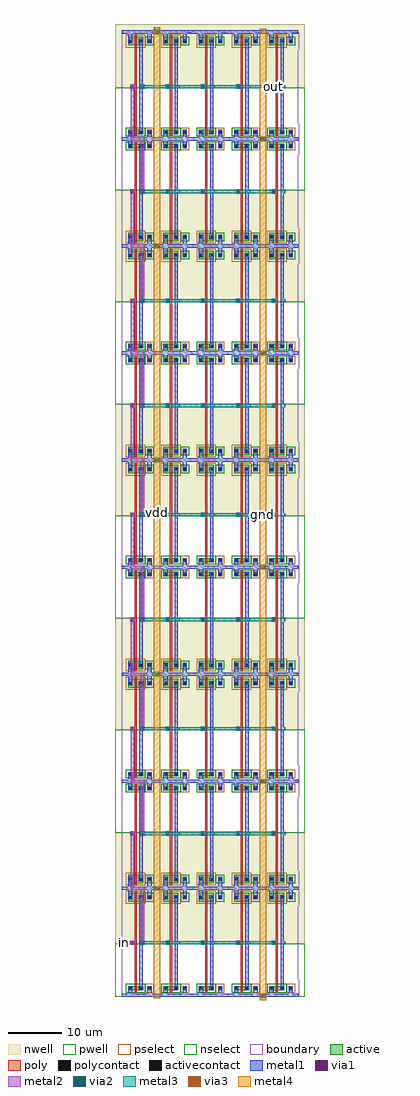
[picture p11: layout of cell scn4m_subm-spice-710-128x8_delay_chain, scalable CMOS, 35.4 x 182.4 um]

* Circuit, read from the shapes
.subckt scn4m_subm-spice-710-128x8_delay_chain gnd in out vdd
M1 scn4m_subm-spice-710-128x8_pinv_15_1/A in gnd gnd nfet w=0.8u l=0.4u
M2 scn4m_subm-spice-710-128x8_pinv_15_10/A scn4m_subm-spice-710-128x8_pinv_15_1/A gnd gnd nfet w=0.8u l=0.4u
M3 scn4m_subm-spice-710-128x8_pinv_15_11/A scn4m_subm-spice-710-128x8_pinv_15_10/A gnd gnd nfet w=0.8u l=0.4u
M4 scn4m_subm-spice-710-128x8_pinv_15_16/A scn4m_subm-spice-710-128x8_pinv_15_11/A gnd gnd nfet w=0.8u l=0.4u
M5 scn4m_subm-spice-710-128x8_pinv_15_21/A scn4m_subm-spice-710-128x8_pinv_15_16/A gnd gnd nfet w=0.8u l=0.4u
M6 scn4m_subm-spice-710-128x8_pinv_15_26/A scn4m_subm-spice-710-128x8_pinv_15_21/A gnd gnd nfet w=0.8u l=0.4u
M7 scn4m_subm-spice-710-128x8_pinv_15_31/A scn4m_subm-spice-710-128x8_pinv_15_26/A gnd gnd nfet w=0.8u l=0.4u
M8 scn4m_subm-spice-710-128x8_pinv_15_36/A scn4m_subm-spice-710-128x8_pinv_15_31/A gnd gnd nfet w=0.8u l=0.4u
M9 out scn4m_subm-spice-710-128x8_pinv_15_36/A gnd gnd nfet w=0.8u l=0.4u
M10 scn4m_subm-spice-710-128x8_pinv_15_1/Z scn4m_subm-spice-710-128x8_pinv_15_1/A gnd gnd nfet w=0.8u l=0.4u
M11 scn4m_subm-spice-710-128x8_pinv_15_6/Z scn4m_subm-spice-710-128x8_pinv_15_10/A gnd gnd nfet w=0.8u l=0.4u
M12 scn4m_subm-spice-710-128x8_pinv_15_11/Z scn4m_subm-spice-710-128x8_pinv_15_11/A gnd gnd nfet w=0.8u l=0.4u
M13 scn4m_subm-spice-710-128x8_pinv_15_16/Z scn4m_subm-spice-710-128x8_pinv_15_16/A gnd gnd nfet w=0.8u l=0.4u
M14 scn4m_subm-spice-710-128x8_pinv_15_21/Z scn4m_subm-spice-710-128x8_pinv_15_21/A gnd gnd nfet w=0.8u l=0.4u
M15 scn4m_subm-spice-710-128x8_pinv_15_26/Z scn4m_subm-spice-710-128x8_pinv_15_26/A gnd gnd nfet w=0.8u l=0.4u
M16 scn4m_subm-spice-710-128x8_pinv_15_31/Z scn4m_subm-spice-710-128x8_pinv_15_31/A gnd gnd nfet w=0.8u l=0.4u
M17 scn4m_subm-spice-710-128x8_pinv_15_36/Z scn4m_subm-spice-710-128x8_pinv_15_36/A gnd gnd nfet w=0.8u l=0.4u
M18 scn4m_subm-spice-710-128x8_pinv_15_41/Z out gnd gnd nfet w=0.8u l=0.4u
M19 scn4m_subm-spice-710-128x8_pinv_15_2/Z scn4m_subm-spice-710-128x8_pinv_15_1/A gnd gnd nfet w=0.8u l=0.4u
M20 scn4m_subm-spice-710-128x8_pinv_15_7/Z scn4m_subm-spice-710-128x8_pinv_15_10/A gnd gnd nfet w=0.8u l=0.4u
M21 scn4m_subm-spice-710-128x8_pinv_15_12/Z scn4m_subm-spice-710-128x8_pinv_15_11/A gnd gnd nfet w=0.8u l=0.4u
M22 scn4m_subm-spice-710-128x8_pinv_15_17/Z scn4m_subm-spice-710-128x8_pinv_15_16/A gnd gnd nfet w=0.8u l=0.4u
M23 scn4m_subm-spice-710-128x8_pinv_15_22/Z scn4m_subm-spice-710-128x8_pinv_15_21/A gnd gnd nfet w=0.8u l=0.4u
M24 scn4m_subm-spice-710-128x8_pinv_15_27/Z scn4m_subm-spice-710-128x8_pinv_15_26/A gnd gnd nfet w=0.8u l=0.4u
M25 scn4m_subm-spice-710-128x8_pinv_15_32/Z scn4m_subm-spice-710-128x8_pinv_15_31/A gnd gnd nfet w=0.8u l=0.4u
M26 scn4m_subm-spice-710-128x8_pinv_15_37/Z scn4m_subm-spice-710-128x8_pinv_15_36/A gnd gnd nfet w=0.8u l=0.4u
M27 scn4m_subm-spice-710-128x8_pinv_15_42/Z out gnd gnd nfet w=0.8u l=0.4u
M28 scn4m_subm-spice-710-128x8_pinv_15_3/Z scn4m_subm-spice-710-128x8_pinv_15_1/A gnd gnd nfet w=0.8u l=0.4u
M29 scn4m_subm-spice-710-128x8_pinv_15_8/Z scn4m_subm-spice-710-128x8_pinv_15_10/A gnd gnd nfet w=0.8u l=0.4u
M30 scn4m_subm-spice-710-128x8_pinv_15_13/Z scn4m_subm-spice-710-128x8_pinv_15_11/A gnd gnd nfet w=0.8u l=0.4u
M31 scn4m_subm-spice-710-128x8_pinv_15_18/Z scn4m_subm-spice-710-128x8_pinv_15_16/A gnd gnd nfet w=0.8u l=0.4u
M32 scn4m_subm-spice-710-128x8_pinv_15_23/Z scn4m_subm-spice-710-128x8_pinv_15_21/A gnd gnd nfet w=0.8u l=0.4u
M33 scn4m_subm-spice-710-128x8_pinv_15_28/Z scn4m_subm-spice-710-128x8_pinv_15_26/A gnd gnd nfet w=0.8u l=0.4u
M34 scn4m_subm-spice-710-128x8_pinv_15_33/Z scn4m_subm-spice-710-128x8_pinv_15_31/A gnd gnd nfet w=0.8u l=0.4u
M35 scn4m_subm-spice-710-128x8_pinv_15_38/Z scn4m_subm-spice-710-128x8_pinv_15_36/A gnd gnd nfet w=0.8u l=0.4u
M36 scn4m_subm-spice-710-128x8_pinv_15_43/Z out gnd gnd nfet w=0.8u l=0.4u
M37 scn4m_subm-spice-710-128x8_pinv_15_4/Z scn4m_subm-spice-710-128x8_pinv_15_1/A gnd gnd nfet w=0.8u l=0.4u
M38 scn4m_subm-spice-710-128x8_pinv_15_9/Z scn4m_subm-spice-710-128x8_pinv_15_10/A gnd gnd nfet w=0.8u l=0.4u
M39 scn4m_subm-spice-710-128x8_pinv_15_14/Z scn4m_subm-spice-710-128x8_pinv_15_11/A gnd gnd nfet w=0.8u l=0.4u
M40 scn4m_subm-spice-710-128x8_pinv_15_19/Z scn4m_subm-spice-710-128x8_pinv_15_16/A gnd gnd nfet w=0.8u l=0.4u
M41 scn4m_subm-spice-710-128x8_pinv_15_24/Z scn4m_subm-spice-710-128x8_pinv_15_21/A gnd gnd nfet w=0.8u l=0.4u
M42 scn4m_subm-spice-710-128x8_pinv_15_29/Z scn4m_subm-spice-710-128x8_pinv_15_26/A gnd gnd nfet w=0.8u l=0.4u
M43 scn4m_subm-spice-710-128x8_pinv_15_34/Z scn4m_subm-spice-710-128x8_pinv_15_31/A gnd gnd nfet w=0.8u l=0.4u
M44 scn4m_subm-spice-710-128x8_pinv_15_39/Z scn4m_subm-spice-710-128x8_pinv_15_36/A gnd gnd nfet w=0.8u l=0.4u
M45 scn4m_subm-spice-710-128x8_pinv_15_44/Z out gnd gnd nfet w=0.8u l=0.4u
M46 scn4m_subm-spice-710-128x8_pinv_15_1/A in vdd vdd pfet w=1.6u l=0.4u
M47 scn4m_subm-spice-710-128x8_pinv_15_10/A scn4m_subm-spice-710-128x8_pinv_15_1/A vdd vdd pfet w=1.6u l=0.4u
M48 scn4m_subm-spice-710-128x8_pinv_15_11/A scn4m_subm-spice-710-128x8_pinv_15_10/A vdd vdd pfet w=1.6u l=0.4u
M49 scn4m_subm-spice-710-128x8_pinv_15_16/A scn4m_subm-spice-710-128x8_pinv_15_11/A vdd vdd pfet w=1.6u l=0.4u
M50 scn4m_subm-spice-710-128x8_pinv_15_21/A scn4m_subm-spice-710-128x8_pinv_15_16/A vdd vdd pfet w=1.6u l=0.4u
M51 scn4m_subm-spice-710-128x8_pinv_15_26/A scn4m_subm-spice-710-128x8_pinv_15_21/A vdd vdd pfet w=1.6u l=0.4u
M52 scn4m_subm-spice-710-128x8_pinv_15_31/A scn4m_subm-spice-710-128x8_pinv_15_26/A vdd vdd pfet w=1.6u l=0.4u
M53 scn4m_subm-spice-710-128x8_pinv_15_36/A scn4m_subm-spice-710-128x8_pinv_15_31/A vdd vdd pfet w=1.6u l=0.4u
M54 out scn4m_subm-spice-710-128x8_pinv_15_36/A vdd vdd pfet w=1.6u l=0.4u
M55 scn4m_subm-spice-710-128x8_pinv_15_1/Z scn4m_subm-spice-710-128x8_pinv_15_1/A vdd vdd pfet w=1.6u l=0.4u
M56 scn4m_subm-spice-710-128x8_pinv_15_6/Z scn4m_subm-spice-710-128x8_pinv_15_10/A vdd vdd pfet w=1.6u l=0.4u
M57 scn4m_subm-spice-710-128x8_pinv_15_11/Z scn4m_subm-spice-710-128x8_pinv_15_11/A vdd vdd pfet w=1.6u l=0.4u
M58 scn4m_subm-spice-710-128x8_pinv_15_16/Z scn4m_subm-spice-710-128x8_pinv_15_16/A vdd vdd pfet w=1.6u l=0.4u
M59 scn4m_subm-spice-710-128x8_pinv_15_21/Z scn4m_subm-spice-710-128x8_pinv_15_21/A vdd vdd pfet w=1.6u l=0.4u
M60 scn4m_subm-spice-710-128x8_pinv_15_26/Z scn4m_subm-spice-710-128x8_pinv_15_26/A vdd vdd pfet w=1.6u l=0.4u
M61 scn4m_subm-spice-710-128x8_pinv_15_31/Z scn4m_subm-spice-710-128x8_pinv_15_31/A vdd vdd pfet w=1.6u l=0.4u
M62 scn4m_subm-spice-710-128x8_pinv_15_36/Z scn4m_subm-spice-710-128x8_pinv_15_36/A vdd vdd pfet w=1.6u l=0.4u
M63 scn4m_subm-spice-710-128x8_pinv_15_41/Z out vdd vdd pfet w=1.6u l=0.4u
M64 scn4m_subm-spice-710-128x8_pinv_15_2/Z scn4m_subm-spice-710-128x8_pinv_15_1/A vdd vdd pfet w=1.6u l=0.4u
M65 scn4m_subm-spice-710-128x8_pinv_15_7/Z scn4m_subm-spice-710-128x8_pinv_15_10/A vdd vdd pfet w=1.6u l=0.4u
M66 scn4m_subm-spice-710-128x8_pinv_15_12/Z scn4m_subm-spice-710-128x8_pinv_15_11/A vdd vdd pfet w=1.6u l=0.4u
M67 scn4m_subm-spice-710-128x8_pinv_15_17/Z scn4m_subm-spice-710-128x8_pinv_15_16/A vdd vdd pfet w=1.6u l=0.4u
M68 scn4m_subm-spice-710-128x8_pinv_15_22/Z scn4m_subm-spice-710-128x8_pinv_15_21/A vdd vdd pfet w=1.6u l=0.4u
M69 scn4m_subm-spice-710-128x8_pinv_15_27/Z scn4m_subm-spice-710-128x8_pinv_15_26/A vdd vdd pfet w=1.6u l=0.4u
M70 scn4m_subm-spice-710-128x8_pinv_15_32/Z scn4m_subm-spice-710-128x8_pinv_15_31/A vdd vdd pfet w=1.6u l=0.4u
M71 scn4m_subm-spice-710-128x8_pinv_15_37/Z scn4m_subm-spice-710-128x8_pinv_15_36/A vdd vdd pfet w=1.6u l=0.4u
M72 scn4m_subm-spice-710-128x8_pinv_15_42/Z out vdd vdd pfet w=1.6u l=0.4u
M73 scn4m_subm-spice-710-128x8_pinv_15_3/Z scn4m_subm-spice-710-128x8_pinv_15_1/A vdd vdd pfet w=1.6u l=0.4u
M74 scn4m_subm-spice-710-128x8_pinv_15_8/Z scn4m_subm-spice-710-128x8_pinv_15_10/A vdd vdd pfet w=1.6u l=0.4u
M75 scn4m_subm-spice-710-128x8_pinv_15_13/Z scn4m_subm-spice-710-128x8_pinv_15_11/A vdd vdd pfet w=1.6u l=0.4u
M76 scn4m_subm-spice-710-128x8_pinv_15_18/Z scn4m_subm-spice-710-128x8_pinv_15_16/A vdd vdd pfet w=1.6u l=0.4u
M77 scn4m_subm-spice-710-128x8_pinv_15_23/Z scn4m_subm-spice-710-128x8_pinv_15_21/A vdd vdd pfet w=1.6u l=0.4u
M78 scn4m_subm-spice-710-128x8_pinv_15_28/Z scn4m_subm-spice-710-128x8_pinv_15_26/A vdd vdd pfet w=1.6u l=0.4u
M79 scn4m_subm-spice-710-128x8_pinv_15_33/Z scn4m_subm-spice-710-128x8_pinv_15_31/A vdd vdd pfet w=1.6u l=0.4u
M80 scn4m_subm-spice-710-128x8_pinv_15_38/Z scn4m_subm-spice-710-128x8_pinv_15_36/A vdd vdd pfet w=1.6u l=0.4u
M81 scn4m_subm-spice-710-128x8_pinv_15_43/Z out vdd vdd pfet w=1.6u l=0.4u
M82 scn4m_subm-spice-710-128x8_pinv_15_4/Z scn4m_subm-spice-710-128x8_pinv_15_1/A vdd vdd pfet w=1.6u l=0.4u
M83 scn4m_subm-spice-710-128x8_pinv_15_9/Z scn4m_subm-spice-710-128x8_pinv_15_10/A vdd vdd pfet w=1.6u l=0.4u
M84 scn4m_subm-spice-710-128x8_pinv_15_14/Z scn4m_subm-spice-710-128x8_pinv_15_11/A vdd vdd pfet w=1.6u l=0.4u
M85 scn4m_subm-spice-710-128x8_pinv_15_19/Z scn4m_subm-spice-710-128x8_pinv_15_16/A vdd vdd pfet w=1.6u l=0.4u
M86 scn4m_subm-spice-710-128x8_pinv_15_24/Z scn4m_subm-spice-710-128x8_pinv_15_21/A vdd vdd pfet w=1.6u l=0.4u
M87 scn4m_subm-spice-710-128x8_pinv_15_29/Z scn4m_subm-spice-710-128x8_pinv_15_26/A vdd vdd pfet w=1.6u l=0.4u
M88 scn4m_subm-spice-710-128x8_pinv_15_34/Z scn4m_subm-spice-710-128x8_pinv_15_31/A vdd vdd pfet w=1.6u l=0.4u
M89 scn4m_subm-spice-710-128x8_pinv_15_39/Z scn4m_subm-spice-710-128x8_pinv_15_36/A vdd vdd pfet w=1.6u l=0.4u
M90 scn4m_subm-spice-710-128x8_pinv_15_44/Z out vdd vdd pfet w=1.6u l=0.4u
.ends

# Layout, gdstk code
import gdstk
lib = gdstk.Library(unit=1e-6, precision=1e-09)
def R(c, l, rs):  # rectangles x0, y0, x1, y1
    for r in rs: c.add(gdstk.rectangle(r[:2], r[2:], *l))
def A(c, l, x, y, w, h, nx, ny, dx, dy):  # array of equal rectangles
    R(c, l, [(x+i*dx, y+j*dy, x+i*dx+w, y+j*dy+h) for i in range(nx) for j in range(ny)])
via3 = (30, 0)
metal4 = (31, 0)
pwell = (41, 0)
nwell = (42, 0)
active = (43, 0)
pselect = (44, 0)
nselect = (45, 0)
poly = (46, 0)
polycontact = (47, 0)
activecontact = (48, 0)
metal1 = (49, 0)
via1 = (50, 0)
metal2 = (51, 0)
via2 = (61, 0)
metal3 = (62, 0)
boundary = (63, 0)

scn4m_subm_spice_710_128 = lib.new_cell('scn4m_subm-spice-710-128x8_contact_12')
R(scn4m_subm_spice_710_128, nwell, [(-1.2,-1.2,2,2)])
R(scn4m_subm_spice_710_128, active, [(0,0,0.8,0.8)])
R(scn4m_subm_spice_710_128, pselect, [(-0.4,-0.4,1.2,1.2)])
R(scn4m_subm_spice_710_128, activecontact, [(0.2,0.2,0.6,0.6)])
R(scn4m_subm_spice_710_128, metal1, [(0,0,0.8,0.8)])
R(scn4m_subm_spice_710_128, boundary, [(-1.2,-1.2,2,2)])

c_scn4m_subm_spice_710_128 = lib.new_cell('scn4m_subm-spice-710-128x8_pmos_m1_w1_600_sm1_dm1_da_p')
R(c_scn4m_subm_spice_710_128, nwell, [(-1.2,-1.2,4,2.8)])
R(c_scn4m_subm_spice_710_128, active, [(0,0,2.8,1.6)])
R(c_scn4m_subm_spice_710_128, pselect, [(-0.4,-0.4,3.2,2)])
R(c_scn4m_subm_spice_710_128, poly, [(1.2,-0.4,1.6,2), (1.2,-0.4,1.6,2)])
R(c_scn4m_subm_spice_710_128, metal1, [(0,0.4,0.8,1.2), (2,0.4,2.8,1.2)])
R(c_scn4m_subm_spice_710_128, boundary, [(-1.2,-1.2,4,2.8)])
c_scn4m_subm_spice_710_128.add(gdstk.Reference(scn4m_subm_spice_710_128, (0,0.4)))
c_scn4m_subm_spice_710_128.add(gdstk.Reference(scn4m_subm_spice_710_128, (2,0.4)))
c_scn4m_subm_spice_710_128.add(gdstk.Label('G', (1.4,0.8), layer=46, texttype=0))
c_scn4m_subm_spice_710_128.add(gdstk.Label('S', (0.4,0.8), layer=49, texttype=0))
c_scn4m_subm_spice_710_128.add(gdstk.Label('D', (2.4,0.8), layer=49, texttype=0))

c_scn4m_subm_spice_710_128_ = lib.new_cell('scn4m_subm-spice-710-128x8_contact_11')
R(c_scn4m_subm_spice_710_128_, pwell, [(-1.2,-1.2,2,2)])
R(c_scn4m_subm_spice_710_128_, active, [(0,0,0.8,0.8)])
R(c_scn4m_subm_spice_710_128_, nselect, [(-0.4,-0.4,1.2,1.2)])
R(c_scn4m_subm_spice_710_128_, activecontact, [(0.2,0.2,0.6,0.6)])
R(c_scn4m_subm_spice_710_128_, metal1, [(0,0,0.8,0.8)])
R(c_scn4m_subm_spice_710_128_, boundary, [(-1.2,-1.2,2,2)])

c_scn4m_subm_spice_710_128__ = lib.new_cell('scn4m_subm-spice-710-128x8_nmos_m1_w0_800_sm1_dm1_da_p')
R(c_scn4m_subm_spice_710_128__, pwell, [(-1.2,-1.2,4,2)])
R(c_scn4m_subm_spice_710_128__, active, [(0,0,2.8,0.8)])
R(c_scn4m_subm_spice_710_128__, nselect, [(-0.4,-0.4,3.2,1.2)])
R(c_scn4m_subm_spice_710_128__, poly, [(1.2,-0.4,1.6,1.2), (1.2,-0.4,1.6,1.2)])
R(c_scn4m_subm_spice_710_128__, metal1, [(0,0,0.8,0.8), (2,0,2.8,0.8)])
R(c_scn4m_subm_spice_710_128__, boundary, [(-1.2,-1.2,4,2)])
c_scn4m_subm_spice_710_128__.add(gdstk.Reference(c_scn4m_subm_spice_710_128_, (0,0)))
c_scn4m_subm_spice_710_128__.add(gdstk.Reference(c_scn4m_subm_spice_710_128_, (2,0)))
c_scn4m_subm_spice_710_128__.add(gdstk.Label('G', (1.4,0.4), layer=46, texttype=0))
c_scn4m_subm_spice_710_128__.add(gdstk.Label('S', (0.4,0.4), layer=49, texttype=0))
c_scn4m_subm_spice_710_128__.add(gdstk.Label('D', (2.4,0.4), layer=49, texttype=0))

c_scn4m_subm_spice_710_128___ = lib.new_cell('scn4m_subm-spice-710-128x8_contact_13')
R(c_scn4m_subm_spice_710_128___, nwell, [(-1.2,-1.2,2,2)])
R(c_scn4m_subm_spice_710_128___, active, [(0,0,0.8,0.8)])
R(c_scn4m_subm_spice_710_128___, nselect, [(-0.4,-0.4,1.2,1.2)])
R(c_scn4m_subm_spice_710_128___, activecontact, [(0.2,0.2,0.6,0.6)])
R(c_scn4m_subm_spice_710_128___, metal1, [(0,0,0.8,0.8)])
R(c_scn4m_subm_spice_710_128___, boundary, [(-1.2,-1.2,2,2)])

c_scn4m_subm_spice_710_128____ = lib.new_cell('scn4m_subm-spice-710-128x8_contact_14')
R(c_scn4m_subm_spice_710_128____, pwell, [(-1.2,-1.2,2,2)])
R(c_scn4m_subm_spice_710_128____, active, [(0,0,0.8,0.8)])
R(c_scn4m_subm_spice_710_128____, pselect, [(-0.4,-0.4,1.2,1.2)])
R(c_scn4m_subm_spice_710_128____, activecontact, [(0.2,0.2,0.6,0.6)])
R(c_scn4m_subm_spice_710_128____, metal1, [(0,0,0.8,0.8)])
R(c_scn4m_subm_spice_710_128____, boundary, [(-1.2,-1.2,2,2)])

c_scn4m_subm_spice_710_128_____ = lib.new_cell('scn4m_subm-spice-710-128x8_contact_15')
R(c_scn4m_subm_spice_710_128_____, poly, [(0,0,0.8,0.8)])
R(c_scn4m_subm_spice_710_128_____, polycontact, [(0.2,0.2,0.6,0.6)])
R(c_scn4m_subm_spice_710_128_____, metal1, [(0,0,0.8,0.8)])
R(c_scn4m_subm_spice_710_128_____, boundary, [(0,0,0.8,0.8)])

c_scn4m_subm_spice_710_128______ = lib.new_cell('scn4m_subm-spice-710-128x8_pinv_15')
R(c_scn4m_subm_spice_710_128______, pwell, [(-1.2,-0.3,7.8,9.6)])
R(c_scn4m_subm_spice_710_128______, nwell, [(-1.2,9.6,7.8,21.5)])
R(c_scn4m_subm_spice_710_128______, poly, [(2.4,2.1,2.8,17.1), (2,9.4,2.4,10.2)])
R(c_scn4m_subm_spice_710_128______, metal1, [(0,-0.3,6.6,0.3), (1.2,-0.3,2,0.9), (4.8,0,5.6,1.3), (3.3,0.9,3.9,18.7), (1.6,9.4,2.4,10.2), (3.6,9.5,4.2,10.1), (1.2,17.9,2,20.3), (4.8,18.3,5.6,20), (0,19.7,6.6,20.3)])
R(c_scn4m_subm_spice_710_128______, boundary, [(0,0,6.6,20), (0,0,6.6,20)])
c_scn4m_subm_spice_710_128______.add(gdstk.Reference(c_scn4m_subm_spice_710_128, (1.2,17.5)))
c_scn4m_subm_spice_710_128______.add(gdstk.Reference(c_scn4m_subm_spice_710_128__, (1.2,0.9)))
c_scn4m_subm_spice_710_128______.add(gdstk.Reference(c_scn4m_subm_spice_710_128___, (4.8,17.9)))
c_scn4m_subm_spice_710_128______.add(gdstk.Reference(c_scn4m_subm_spice_710_128____, (4.8,0.9)))
c_scn4m_subm_spice_710_128______.add(gdstk.Reference(c_scn4m_subm_spice_710_128_____, (1.6,9.4)))
c_scn4m_subm_spice_710_128______.add(gdstk.Label('A', (2,9.8), layer=49, texttype=0))
c_scn4m_subm_spice_710_128______.add(gdstk.Label('Z', (3.9,9.8), layer=49, texttype=0))
c_scn4m_subm_spice_710_128______.add(gdstk.Label('gnd', (3.3,0), layer=49, texttype=0))
c_scn4m_subm_spice_710_128______.add(gdstk.Label('vdd', (3.3,20), layer=49, texttype=0))

c_scn4m_subm_spice_710_128_______ = lib.new_cell('scn4m_subm-spice-710-128x8_contact_18')
R(c_scn4m_subm_spice_710_128_______, metal1, [(0,0,0.8,0.8)])
R(c_scn4m_subm_spice_710_128_______, via1, [(0.2,0.2,0.6,0.6)])
R(c_scn4m_subm_spice_710_128_______, metal2, [(0,0,0.8,0.8)])
R(c_scn4m_subm_spice_710_128_______, boundary, [(0,0,0.8,0.8)])

c_scn4m_subm_spice_710_128________ = lib.new_cell('scn4m_subm-spice-710-128x8_contact_19')
R(c_scn4m_subm_spice_710_128________, metal2, [(0,0,0.8,0.8)])
R(c_scn4m_subm_spice_710_128________, via2, [(0.2,0.2,0.6,0.6)])
R(c_scn4m_subm_spice_710_128________, metal3, [(0,0,0.8,0.8)])
R(c_scn4m_subm_spice_710_128________, boundary, [(0,0,0.8,0.8)])

c_scn4m_subm_spice_710_128_________ = lib.new_cell('scn4m_subm-spice-710-128x8_contact_22')
R(c_scn4m_subm_spice_710_128_________, via3, [(0.4,0.4,0.8,0.8)])
R(c_scn4m_subm_spice_710_128_________, metal4, [(0,0,1.2,1.2)])
R(c_scn4m_subm_spice_710_128_________, metal3, [(0.2,0.2,1,1)])
R(c_scn4m_subm_spice_710_128_________, boundary, [(0,0,1.2,1.2)])

c_scn4m_subm_spice_710_128__________ = lib.new_cell('scn4m_subm-spice-710-128x8_delay_chain')
R(c_scn4m_subm_spice_710_128__________, metal4, [(25.8,-0.9,27,180.6), (6,-0.6,7.2,180.9)])
R(c_scn4m_subm_spice_710_128__________, metal1, [(0.6,9.5,2,10.1), (28.1,169.5,28.7,170.1), (28.1,169.5,28.7,170.1)])
A(c_scn4m_subm_spice_710_128__________, metal2, 3.6, 9.8, 0.6, 10.2, 1, 4, 0, 40)
A(c_scn4m_subm_spice_710_128__________, metal2, 1.7, 19.7, 0.6, 0.6, 1, 8, 0, 20)
A(c_scn4m_subm_spice_710_128__________, metal2, 2, 19.7, 1.9, 0.6, 1, 8, 0, 20)
A(c_scn4m_subm_spice_710_128__________, metal2, 3.6, 19.7, 0.6, 0.6, 1, 8, 0, 20)
A(c_scn4m_subm_spice_710_128__________, metal2, 1.7, 20, 0.6, 10.2, 1, 4, 0, 40)
A(c_scn4m_subm_spice_710_128__________, metal2, 3.6, 30.2, 0.6, 9.8, 1, 4, 0, 40)
A(c_scn4m_subm_spice_710_128__________, metal2, 1.7, 40, 0.6, 9.8, 1, 4, 0, 40)
R(c_scn4m_subm_spice_710_128__________, metal2, [(0.3,9.5,0.9,10.1)])
R(c_scn4m_subm_spice_710_128__________, metal3, [(3.9,9.5,28.4,10.1), (3.9,29.9,28.4,30.5), (3.9,49.5,28.4,50.1), (3.9,69.9,28.4,70.5), (3.9,89.5,28.4,90.1), (3.9,109.9,28.4,110.5), (3.9,129.5,28.4,130.1), (3.9,149.9,28.4,150.5), (3.9,169.5,28.4,170.1)])
R(c_scn4m_subm_spice_710_128__________, boundary, [(0,0,33,180)])
c_scn4m_subm_spice_710_128__________.add(gdstk.Reference(c_scn4m_subm_spice_710_128______, (0,0)))
c_scn4m_subm_spice_710_128__________.add(gdstk.Reference(c_scn4m_subm_spice_710_128______, (6.6,0)))
c_scn4m_subm_spice_710_128__________.add(gdstk.Reference(c_scn4m_subm_spice_710_128______, (13.2,0)))
c_scn4m_subm_spice_710_128__________.add(gdstk.Reference(c_scn4m_subm_spice_710_128______, (19.8,0)))
c_scn4m_subm_spice_710_128__________.add(gdstk.Reference(c_scn4m_subm_spice_710_128______, (26.4,0)))
c_scn4m_subm_spice_710_128__________.add(gdstk.Reference(c_scn4m_subm_spice_710_128______, (0,40), x_reflection=True))
c_scn4m_subm_spice_710_128__________.add(gdstk.Reference(c_scn4m_subm_spice_710_128______, (6.6,40), x_reflection=True))
c_scn4m_subm_spice_710_128__________.add(gdstk.Reference(c_scn4m_subm_spice_710_128______, (13.2,40), x_reflection=True))
c_scn4m_subm_spice_710_128__________.add(gdstk.Reference(c_scn4m_subm_spice_710_128______, (19.8,40), x_reflection=True))
c_scn4m_subm_spice_710_128__________.add(gdstk.Reference(c_scn4m_subm_spice_710_128______, (26.4,40), x_reflection=True))
c_scn4m_subm_spice_710_128__________.add(gdstk.Reference(c_scn4m_subm_spice_710_128______, (0,40)))
c_scn4m_subm_spice_710_128__________.add(gdstk.Reference(c_scn4m_subm_spice_710_128______, (6.6,40)))
c_scn4m_subm_spice_710_128__________.add(gdstk.Reference(c_scn4m_subm_spice_710_128______, (13.2,40)))
c_scn4m_subm_spice_710_128__________.add(gdstk.Reference(c_scn4m_subm_spice_710_128______, (19.8,40)))
c_scn4m_subm_spice_710_128__________.add(gdstk.Reference(c_scn4m_subm_spice_710_128______, (26.4,40)))
c_scn4m_subm_spice_710_128__________.add(gdstk.Reference(c_scn4m_subm_spice_710_128______, (0,80), x_reflection=True))
c_scn4m_subm_spice_710_128__________.add(gdstk.Reference(c_scn4m_subm_spice_710_128______, (6.6,80), x_reflection=True))
c_scn4m_subm_spice_710_128__________.add(gdstk.Reference(c_scn4m_subm_spice_710_128______, (13.2,80), x_reflection=True))
c_scn4m_subm_spice_710_128__________.add(gdstk.Reference(c_scn4m_subm_spice_710_128______, (19.8,80), x_reflection=True))
c_scn4m_subm_spice_710_128__________.add(gdstk.Reference(c_scn4m_subm_spice_710_128______, (26.4,80), x_reflection=True))
c_scn4m_subm_spice_710_128__________.add(gdstk.Reference(c_scn4m_subm_spice_710_128______, (0,80)))
c_scn4m_subm_spice_710_128__________.add(gdstk.Reference(c_scn4m_subm_spice_710_128______, (6.6,80)))
c_scn4m_subm_spice_710_128__________.add(gdstk.Reference(c_scn4m_subm_spice_710_128______, (13.2,80)))
c_scn4m_subm_spice_710_128__________.add(gdstk.Reference(c_scn4m_subm_spice_710_128______, (19.8,80)))
c_scn4m_subm_spice_710_128__________.add(gdstk.Reference(c_scn4m_subm_spice_710_128______, (26.4,80)))
c_scn4m_subm_spice_710_128__________.add(gdstk.Reference(c_scn4m_subm_spice_710_128______, (0,120), x_reflection=True))
c_scn4m_subm_spice_710_128__________.add(gdstk.Reference(c_scn4m_subm_spice_710_128______, (6.6,120), x_reflection=True))
c_scn4m_subm_spice_710_128__________.add(gdstk.Reference(c_scn4m_subm_spice_710_128______, (13.2,120), x_reflection=True))
c_scn4m_subm_spice_710_128__________.add(gdstk.Reference(c_scn4m_subm_spice_710_128______, (19.8,120), x_reflection=True))
c_scn4m_subm_spice_710_128__________.add(gdstk.Reference(c_scn4m_subm_spice_710_128______, (26.4,120), x_reflection=True))
c_scn4m_subm_spice_710_128__________.add(gdstk.Reference(c_scn4m_subm_spice_710_128______, (0,120)))
c_scn4m_subm_spice_710_128__________.add(gdstk.Reference(c_scn4m_subm_spice_710_128______, (6.6,120)))
c_scn4m_subm_spice_710_128__________.add(gdstk.Reference(c_scn4m_subm_spice_710_128______, (13.2,120)))
c_scn4m_subm_spice_710_128__________.add(gdstk.Reference(c_scn4m_subm_spice_710_128______, (19.8,120)))
c_scn4m_subm_spice_710_128__________.add(gdstk.Reference(c_scn4m_subm_spice_710_128______, (26.4,120)))
c_scn4m_subm_spice_710_128__________.add(gdstk.Reference(c_scn4m_subm_spice_710_128______, (0,160), x_reflection=True))
c_scn4m_subm_spice_710_128__________.add(gdstk.Reference(c_scn4m_subm_spice_710_128______, (6.6,160), x_reflection=True))
c_scn4m_subm_spice_710_128__________.add(gdstk.Reference(c_scn4m_subm_spice_710_128______, (13.2,160), x_reflection=True))
c_scn4m_subm_spice_710_128__________.add(gdstk.Reference(c_scn4m_subm_spice_710_128______, (19.8,160), x_reflection=True))
c_scn4m_subm_spice_710_128__________.add(gdstk.Reference(c_scn4m_subm_spice_710_128______, (26.4,160), x_reflection=True))
c_scn4m_subm_spice_710_128__________.add(gdstk.Reference(c_scn4m_subm_spice_710_128______, (0,160)))
c_scn4m_subm_spice_710_128__________.add(gdstk.Reference(c_scn4m_subm_spice_710_128______, (6.6,160)))
c_scn4m_subm_spice_710_128__________.add(gdstk.Reference(c_scn4m_subm_spice_710_128______, (13.2,160)))
c_scn4m_subm_spice_710_128__________.add(gdstk.Reference(c_scn4m_subm_spice_710_128______, (19.8,160)))
c_scn4m_subm_spice_710_128__________.add(gdstk.Reference(c_scn4m_subm_spice_710_128______, (26.4,160)))
c_scn4m_subm_spice_710_128__________.add(gdstk.Reference(c_scn4m_subm_spice_710_128_______, (8.2,9.4)))
c_scn4m_subm_spice_710_128__________.add(gdstk.Reference(c_scn4m_subm_spice_710_128________, (8.2,9.4)))
c_scn4m_subm_spice_710_128__________.add(gdstk.Reference(c_scn4m_subm_spice_710_128_______, (14.8,9.4)))
c_scn4m_subm_spice_710_128__________.add(gdstk.Reference(c_scn4m_subm_spice_710_128________, (14.8,9.4)))
c_scn4m_subm_spice_710_128__________.add(gdstk.Reference(c_scn4m_subm_spice_710_128_______, (21.4,9.4)))
c_scn4m_subm_spice_710_128__________.add(gdstk.Reference(c_scn4m_subm_spice_710_128________, (21.4,9.4)))
c_scn4m_subm_spice_710_128__________.add(gdstk.Reference(c_scn4m_subm_spice_710_128_______, (28,9.4)))
c_scn4m_subm_spice_710_128__________.add(gdstk.Reference(c_scn4m_subm_spice_710_128________, (28,9.4)))
c_scn4m_subm_spice_710_128__________.add(gdstk.Reference(c_scn4m_subm_spice_710_128_______, (1.6,9.4)))
c_scn4m_subm_spice_710_128__________.add(gdstk.Reference(c_scn4m_subm_spice_710_128_______, (3.5,9.4)))
c_scn4m_subm_spice_710_128__________.add(gdstk.Reference(c_scn4m_subm_spice_710_128________, (3.5,9.4)))
c_scn4m_subm_spice_710_128__________.add(gdstk.Reference(c_scn4m_subm_spice_710_128_______, (8.2,29.8)))
c_scn4m_subm_spice_710_128__________.add(gdstk.Reference(c_scn4m_subm_spice_710_128________, (8.2,29.8)))
c_scn4m_subm_spice_710_128__________.add(gdstk.Reference(c_scn4m_subm_spice_710_128_______, (14.8,29.8)))
c_scn4m_subm_spice_710_128__________.add(gdstk.Reference(c_scn4m_subm_spice_710_128________, (14.8,29.8)))
c_scn4m_subm_spice_710_128__________.add(gdstk.Reference(c_scn4m_subm_spice_710_128_______, (21.4,29.8)))
c_scn4m_subm_spice_710_128__________.add(gdstk.Reference(c_scn4m_subm_spice_710_128________, (21.4,29.8)))
c_scn4m_subm_spice_710_128__________.add(gdstk.Reference(c_scn4m_subm_spice_710_128_______, (28,29.8)))
c_scn4m_subm_spice_710_128__________.add(gdstk.Reference(c_scn4m_subm_spice_710_128________, (28,29.8)))
c_scn4m_subm_spice_710_128__________.add(gdstk.Reference(c_scn4m_subm_spice_710_128_______, (1.6,29.8)))
c_scn4m_subm_spice_710_128__________.add(gdstk.Reference(c_scn4m_subm_spice_710_128_______, (3.5,29.8)))
c_scn4m_subm_spice_710_128__________.add(gdstk.Reference(c_scn4m_subm_spice_710_128________, (3.5,29.8)))
c_scn4m_subm_spice_710_128__________.add(gdstk.Reference(c_scn4m_subm_spice_710_128_______, (8.2,49.4)))
c_scn4m_subm_spice_710_128__________.add(gdstk.Reference(c_scn4m_subm_spice_710_128________, (8.2,49.4)))
c_scn4m_subm_spice_710_128__________.add(gdstk.Reference(c_scn4m_subm_spice_710_128_______, (14.8,49.4)))
c_scn4m_subm_spice_710_128__________.add(gdstk.Reference(c_scn4m_subm_spice_710_128________, (14.8,49.4)))
c_scn4m_subm_spice_710_128__________.add(gdstk.Reference(c_scn4m_subm_spice_710_128_______, (21.4,49.4)))
c_scn4m_subm_spice_710_128__________.add(gdstk.Reference(c_scn4m_subm_spice_710_128________, (21.4,49.4)))
c_scn4m_subm_spice_710_128__________.add(gdstk.Reference(c_scn4m_subm_spice_710_128_______, (28,49.4)))
c_scn4m_subm_spice_710_128__________.add(gdstk.Reference(c_scn4m_subm_spice_710_128________, (28,49.4)))
c_scn4m_subm_spice_710_128__________.add(gdstk.Reference(c_scn4m_subm_spice_710_128_______, (1.6,49.4)))
c_scn4m_subm_spice_710_128__________.add(gdstk.Reference(c_scn4m_subm_spice_710_128_______, (3.5,49.4)))
c_scn4m_subm_spice_710_128__________.add(gdstk.Reference(c_scn4m_subm_spice_710_128________, (3.5,49.4)))
c_scn4m_subm_spice_710_128__________.add(gdstk.Reference(c_scn4m_subm_spice_710_128_______, (8.2,69.8)))
c_scn4m_subm_spice_710_128__________.add(gdstk.Reference(c_scn4m_subm_spice_710_128________, (8.2,69.8)))
c_scn4m_subm_spice_710_128__________.add(gdstk.Reference(c_scn4m_subm_spice_710_128_______, (14.8,69.8)))
c_scn4m_subm_spice_710_128__________.add(gdstk.Reference(c_scn4m_subm_spice_710_128________, (14.8,69.8)))
c_scn4m_subm_spice_710_128__________.add(gdstk.Reference(c_scn4m_subm_spice_710_128_______, (21.4,69.8)))
c_scn4m_subm_spice_710_128__________.add(gdstk.Reference(c_scn4m_subm_spice_710_128________, (21.4,69.8)))
c_scn4m_subm_spice_710_128__________.add(gdstk.Reference(c_scn4m_subm_spice_710_128_______, (28,69.8)))
c_scn4m_subm_spice_710_128__________.add(gdstk.Reference(c_scn4m_subm_spice_710_128________, (28,69.8)))
c_scn4m_subm_spice_710_128__________.add(gdstk.Reference(c_scn4m_subm_spice_710_128_______, (1.6,69.8)))
c_scn4m_subm_spice_710_128__________.add(gdstk.Reference(c_scn4m_subm_spice_710_128_______, (3.5,69.8)))
c_scn4m_subm_spice_710_128__________.add(gdstk.Reference(c_scn4m_subm_spice_710_128________, (3.5,69.8)))
c_scn4m_subm_spice_710_128__________.add(gdstk.Reference(c_scn4m_subm_spice_710_128_______, (8.2,89.4)))
c_scn4m_subm_spice_710_128__________.add(gdstk.Reference(c_scn4m_subm_spice_710_128________, (8.2,89.4)))
c_scn4m_subm_spice_710_128__________.add(gdstk.Reference(c_scn4m_subm_spice_710_128_______, (14.8,89.4)))
c_scn4m_subm_spice_710_128__________.add(gdstk.Reference(c_scn4m_subm_spice_710_128________, (14.8,89.4)))
c_scn4m_subm_spice_710_128__________.add(gdstk.Reference(c_scn4m_subm_spice_710_128_______, (21.4,89.4)))
c_scn4m_subm_spice_710_128__________.add(gdstk.Reference(c_scn4m_subm_spice_710_128________, (21.4,89.4)))
c_scn4m_subm_spice_710_128__________.add(gdstk.Reference(c_scn4m_subm_spice_710_128_______, (28,89.4)))
c_scn4m_subm_spice_710_128__________.add(gdstk.Reference(c_scn4m_subm_spice_710_128________, (28,89.4)))
c_scn4m_subm_spice_710_128__________.add(gdstk.Reference(c_scn4m_subm_spice_710_128_______, (1.6,89.4)))
c_scn4m_subm_spice_710_128__________.add(gdstk.Reference(c_scn4m_subm_spice_710_128_______, (3.5,89.4)))
c_scn4m_subm_spice_710_128__________.add(gdstk.Reference(c_scn4m_subm_spice_710_128________, (3.5,89.4)))
c_scn4m_subm_spice_710_128__________.add(gdstk.Reference(c_scn4m_subm_spice_710_128_______, (8.2,109.8)))
c_scn4m_subm_spice_710_128__________.add(gdstk.Reference(c_scn4m_subm_spice_710_128________, (8.2,109.8)))
c_scn4m_subm_spice_710_128__________.add(gdstk.Reference(c_scn4m_subm_spice_710_128_______, (14.8,109.8)))
c_scn4m_subm_spice_710_128__________.add(gdstk.Reference(c_scn4m_subm_spice_710_128________, (14.8,109.8)))
c_scn4m_subm_spice_710_128__________.add(gdstk.Reference(c_scn4m_subm_spice_710_128_______, (21.4,109.8)))
c_scn4m_subm_spice_710_128__________.add(gdstk.Reference(c_scn4m_subm_spice_710_128________, (21.4,109.8)))
c_scn4m_subm_spice_710_128__________.add(gdstk.Reference(c_scn4m_subm_spice_710_128_______, (28,109.8)))
c_scn4m_subm_spice_710_128__________.add(gdstk.Reference(c_scn4m_subm_spice_710_128________, (28,109.8)))
c_scn4m_subm_spice_710_128__________.add(gdstk.Reference(c_scn4m_subm_spice_710_128_______, (1.6,109.8)))
c_scn4m_subm_spice_710_128__________.add(gdstk.Reference(c_scn4m_subm_spice_710_128_______, (3.5,109.8)))
c_scn4m_subm_spice_710_128__________.add(gdstk.Reference(c_scn4m_subm_spice_710_128________, (3.5,109.8)))
c_scn4m_subm_spice_710_128__________.add(gdstk.Reference(c_scn4m_subm_spice_710_128_______, (8.2,129.4)))
c_scn4m_subm_spice_710_128__________.add(gdstk.Reference(c_scn4m_subm_spice_710_128________, (8.2,129.4)))
c_scn4m_subm_spice_710_128__________.add(gdstk.Reference(c_scn4m_subm_spice_710_128_______, (14.8,129.4)))
c_scn4m_subm_spice_710_128__________.add(gdstk.Reference(c_scn4m_subm_spice_710_128________, (14.8,129.4)))
c_scn4m_subm_spice_710_128__________.add(gdstk.Reference(c_scn4m_subm_spice_710_128_______, (21.4,129.4)))
c_scn4m_subm_spice_710_128__________.add(gdstk.Reference(c_scn4m_subm_spice_710_128________, (21.4,129.4)))
c_scn4m_subm_spice_710_128__________.add(gdstk.Reference(c_scn4m_subm_spice_710_128_______, (28,129.4)))
c_scn4m_subm_spice_710_128__________.add(gdstk.Reference(c_scn4m_subm_spice_710_128________, (28,129.4)))
c_scn4m_subm_spice_710_128__________.add(gdstk.Reference(c_scn4m_subm_spice_710_128_______, (1.6,129.4)))
c_scn4m_subm_spice_710_128__________.add(gdstk.Reference(c_scn4m_subm_spice_710_128_______, (3.5,129.4)))
c_scn4m_subm_spice_710_128__________.add(gdstk.Reference(c_scn4m_subm_spice_710_128________, (3.5,129.4)))
c_scn4m_subm_spice_710_128__________.add(gdstk.Reference(c_scn4m_subm_spice_710_128_______, (8.2,149.8)))
c_scn4m_subm_spice_710_128__________.add(gdstk.Reference(c_scn4m_subm_spice_710_128________, (8.2,149.8)))
c_scn4m_subm_spice_710_128__________.add(gdstk.Reference(c_scn4m_subm_spice_710_128_______, (14.8,149.8)))
c_scn4m_subm_spice_710_128__________.add(gdstk.Reference(c_scn4m_subm_spice_710_128________, (14.8,149.8)))
c_scn4m_subm_spice_710_128__________.add(gdstk.Reference(c_scn4m_subm_spice_710_128_______, (21.4,149.8)))
c_scn4m_subm_spice_710_128__________.add(gdstk.Reference(c_scn4m_subm_spice_710_128________, (21.4,149.8)))
c_scn4m_subm_spice_710_128__________.add(gdstk.Reference(c_scn4m_subm_spice_710_128_______, (28,149.8)))
c_scn4m_subm_spice_710_128__________.add(gdstk.Reference(c_scn4m_subm_spice_710_128________, (28,149.8)))
c_scn4m_subm_spice_710_128__________.add(gdstk.Reference(c_scn4m_subm_spice_710_128_______, (1.6,149.8)))
c_scn4m_subm_spice_710_128__________.add(gdstk.Reference(c_scn4m_subm_spice_710_128_______, (3.5,149.8)))
c_scn4m_subm_spice_710_128__________.add(gdstk.Reference(c_scn4m_subm_spice_710_128________, (3.5,149.8)))
c_scn4m_subm_spice_710_128__________.add(gdstk.Reference(c_scn4m_subm_spice_710_128_______, (8.2,169.4)))
c_scn4m_subm_spice_710_128__________.add(gdstk.Reference(c_scn4m_subm_spice_710_128________, (8.2,169.4)))
c_scn4m_subm_spice_710_128__________.add(gdstk.Reference(c_scn4m_subm_spice_710_128_______, (14.8,169.4)))
c_scn4m_subm_spice_710_128__________.add(gdstk.Reference(c_scn4m_subm_spice_710_128________, (14.8,169.4)))
c_scn4m_subm_spice_710_128__________.add(gdstk.Reference(c_scn4m_subm_spice_710_128_______, (21.4,169.4)))
c_scn4m_subm_spice_710_128__________.add(gdstk.Reference(c_scn4m_subm_spice_710_128________, (21.4,169.4)))
c_scn4m_subm_spice_710_128__________.add(gdstk.Reference(c_scn4m_subm_spice_710_128_______, (28,169.4)))
c_scn4m_subm_spice_710_128__________.add(gdstk.Reference(c_scn4m_subm_spice_710_128________, (28,169.4)))
c_scn4m_subm_spice_710_128__________.add(gdstk.Reference(c_scn4m_subm_spice_710_128_______, (1.6,169.4)))
c_scn4m_subm_spice_710_128__________.add(gdstk.Reference(c_scn4m_subm_spice_710_128_______, (3.5,169.4)))
c_scn4m_subm_spice_710_128__________.add(gdstk.Reference(c_scn4m_subm_spice_710_128________, (3.5,169.4)))
c_scn4m_subm_spice_710_128__________.add(gdstk.Reference(c_scn4m_subm_spice_710_128_______, (6.2,19.6)))
c_scn4m_subm_spice_710_128__________.add(gdstk.Reference(c_scn4m_subm_spice_710_128________, (6.2,19.6)))
c_scn4m_subm_spice_710_128__________.add(gdstk.Reference(c_scn4m_subm_spice_710_128_________, (6,19.4)))
c_scn4m_subm_spice_710_128__________.add(gdstk.Reference(c_scn4m_subm_spice_710_128_______, (6.2,19.6)))
c_scn4m_subm_spice_710_128__________.add(gdstk.Reference(c_scn4m_subm_spice_710_128________, (6.2,19.6)))
c_scn4m_subm_spice_710_128__________.add(gdstk.Reference(c_scn4m_subm_spice_710_128_________, (6,19.4)))
c_scn4m_subm_spice_710_128__________.add(gdstk.Reference(c_scn4m_subm_spice_710_128_______, (6.2,59.6)))
c_scn4m_subm_spice_710_128__________.add(gdstk.Reference(c_scn4m_subm_spice_710_128________, (6.2,59.6)))
c_scn4m_subm_spice_710_128__________.add(gdstk.Reference(c_scn4m_subm_spice_710_128_________, (6,59.4)))
c_scn4m_subm_spice_710_128__________.add(gdstk.Reference(c_scn4m_subm_spice_710_128_______, (6.2,59.6)))
c_scn4m_subm_spice_710_128__________.add(gdstk.Reference(c_scn4m_subm_spice_710_128________, (6.2,59.6)))
c_scn4m_subm_spice_710_128__________.add(gdstk.Reference(c_scn4m_subm_spice_710_128_________, (6,59.4)))
c_scn4m_subm_spice_710_128__________.add(gdstk.Reference(c_scn4m_subm_spice_710_128_______, (6.2,99.6)))
c_scn4m_subm_spice_710_128__________.add(gdstk.Reference(c_scn4m_subm_spice_710_128________, (6.2,99.6)))
c_scn4m_subm_spice_710_128__________.add(gdstk.Reference(c_scn4m_subm_spice_710_128_________, (6,99.4)))
c_scn4m_subm_spice_710_128__________.add(gdstk.Reference(c_scn4m_subm_spice_710_128_______, (6.2,99.6)))
c_scn4m_subm_spice_710_128__________.add(gdstk.Reference(c_scn4m_subm_spice_710_128________, (6.2,99.6)))
c_scn4m_subm_spice_710_128__________.add(gdstk.Reference(c_scn4m_subm_spice_710_128_________, (6,99.4)))
c_scn4m_subm_spice_710_128__________.add(gdstk.Reference(c_scn4m_subm_spice_710_128_______, (6.2,139.6)))
c_scn4m_subm_spice_710_128__________.add(gdstk.Reference(c_scn4m_subm_spice_710_128________, (6.2,139.6)))
c_scn4m_subm_spice_710_128__________.add(gdstk.Reference(c_scn4m_subm_spice_710_128_________, (6,139.4)))
c_scn4m_subm_spice_710_128__________.add(gdstk.Reference(c_scn4m_subm_spice_710_128_______, (6.2,139.6)))
c_scn4m_subm_spice_710_128__________.add(gdstk.Reference(c_scn4m_subm_spice_710_128________, (6.2,139.6)))
c_scn4m_subm_spice_710_128__________.add(gdstk.Reference(c_scn4m_subm_spice_710_128_________, (6,139.4)))
c_scn4m_subm_spice_710_128__________.add(gdstk.Reference(c_scn4m_subm_spice_710_128_______, (6.2,179.6)))
c_scn4m_subm_spice_710_128__________.add(gdstk.Reference(c_scn4m_subm_spice_710_128________, (6.2,179.6)))
c_scn4m_subm_spice_710_128__________.add(gdstk.Reference(c_scn4m_subm_spice_710_128_________, (6,179.4)))
c_scn4m_subm_spice_710_128__________.add(gdstk.Reference(c_scn4m_subm_spice_710_128_______, (26,-0.4)))
c_scn4m_subm_spice_710_128__________.add(gdstk.Reference(c_scn4m_subm_spice_710_128________, (26,-0.4)))
c_scn4m_subm_spice_710_128__________.add(gdstk.Reference(c_scn4m_subm_spice_710_128_________, (25.8,-0.6)))
c_scn4m_subm_spice_710_128__________.add(gdstk.Reference(c_scn4m_subm_spice_710_128_______, (26,39.6)))
c_scn4m_subm_spice_710_128__________.add(gdstk.Reference(c_scn4m_subm_spice_710_128________, (26,39.6)))
c_scn4m_subm_spice_710_128__________.add(gdstk.Reference(c_scn4m_subm_spice_710_128_________, (25.8,39.4)))
c_scn4m_subm_spice_710_128__________.add(gdstk.Reference(c_scn4m_subm_spice_710_128_______, (26,39.6)))
c_scn4m_subm_spice_710_128__________.add(gdstk.Reference(c_scn4m_subm_spice_710_128________, (26,39.6)))
c_scn4m_subm_spice_710_128__________.add(gdstk.Reference(c_scn4m_subm_spice_710_128_________, (25.8,39.4)))
c_scn4m_subm_spice_710_128__________.add(gdstk.Reference(c_scn4m_subm_spice_710_128_______, (26,79.6)))
c_scn4m_subm_spice_710_128__________.add(gdstk.Reference(c_scn4m_subm_spice_710_128________, (26,79.6)))
c_scn4m_subm_spice_710_128__________.add(gdstk.Reference(c_scn4m_subm_spice_710_128_________, (25.8,79.4)))
c_scn4m_subm_spice_710_128__________.add(gdstk.Reference(c_scn4m_subm_spice_710_128_______, (26,79.6)))
c_scn4m_subm_spice_710_128__________.add(gdstk.Reference(c_scn4m_subm_spice_710_128________, (26,79.6)))
c_scn4m_subm_spice_710_128__________.add(gdstk.Reference(c_scn4m_subm_spice_710_128_________, (25.8,79.4)))
c_scn4m_subm_spice_710_128__________.add(gdstk.Reference(c_scn4m_subm_spice_710_128_______, (26,119.6)))
c_scn4m_subm_spice_710_128__________.add(gdstk.Reference(c_scn4m_subm_spice_710_128________, (26,119.6)))
c_scn4m_subm_spice_710_128__________.add(gdstk.Reference(c_scn4m_subm_spice_710_128_________, (25.8,119.4)))
c_scn4m_subm_spice_710_128__________.add(gdstk.Reference(c_scn4m_subm_spice_710_128_______, (26,119.6)))
c_scn4m_subm_spice_710_128__________.add(gdstk.Reference(c_scn4m_subm_spice_710_128________, (26,119.6)))
c_scn4m_subm_spice_710_128__________.add(gdstk.Reference(c_scn4m_subm_spice_710_128_________, (25.8,119.4)))
c_scn4m_subm_spice_710_128__________.add(gdstk.Reference(c_scn4m_subm_spice_710_128_______, (26,159.6)))
c_scn4m_subm_spice_710_128__________.add(gdstk.Reference(c_scn4m_subm_spice_710_128________, (26,159.6)))
c_scn4m_subm_spice_710_128__________.add(gdstk.Reference(c_scn4m_subm_spice_710_128_________, (25.8,159.4)))
c_scn4m_subm_spice_710_128__________.add(gdstk.Reference(c_scn4m_subm_spice_710_128_______, (26,159.6)))
c_scn4m_subm_spice_710_128__________.add(gdstk.Reference(c_scn4m_subm_spice_710_128________, (26,159.6)))
c_scn4m_subm_spice_710_128__________.add(gdstk.Reference(c_scn4m_subm_spice_710_128_________, (25.8,159.4)))
c_scn4m_subm_spice_710_128__________.add(gdstk.Reference(c_scn4m_subm_spice_710_128_______, (0.2,9.4)))
c_scn4m_subm_spice_710_128__________.add(gdstk.Label('vdd', (6.6,90.15), layer=31, texttype=0))
c_scn4m_subm_spice_710_128__________.add(gdstk.Label('gnd', (26.4,89.85), layer=31, texttype=0))
c_scn4m_subm_spice_710_128__________.add(gdstk.Label('in', (0.6,9.8), layer=51, texttype=0))
c_scn4m_subm_spice_710_128__________.add(gdstk.Label('out', (28.4,169.8), layer=49, texttype=0))

lib.write_gds('scn4m_subm-spice-710-128x8_delay_chain.gds')
